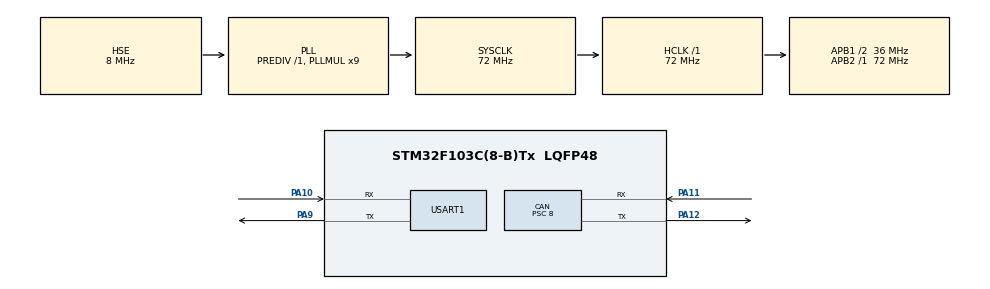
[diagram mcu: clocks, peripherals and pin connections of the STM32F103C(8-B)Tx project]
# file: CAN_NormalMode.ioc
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CAN.BS1=CAN_BS1_15TQ
CAN.BS2=CAN_BS2_2TQ
CAN.CalculateBaudRate=250000
CAN.CalculateTimeBit=4000
CAN.CalculateTimeQuantum=222.22222222222223
CAN.Prescaler=8
Mcu.Family=STM32F1
Mcu.Name=STM32F103C(8-B)Tx
Mcu.Package=LQFP48
NVIC.PriorityGroup=NVIC_PRIORITYGROUP_4
PA10.Mode=Asynchronous
PA10.Signal=USART1_RX
PA11.Mode=CAN_Activate
PA11.Signal=CAN_RX
PA12.Mode=CAN_Activate
PA12.Signal=CAN_TX
PA13.Mode=Serial_Wire
PA13.Signal=SYS_JTMS-SWDIO
PA14.Mode=Serial_Wire
PA14.Signal=SYS_JTCK-SWCLK
PA9.Mode=Asynchronous
PA9.Signal=USART1_TX
PD0-OSC_IN.Mode=HSE-External-Oscillator
PD0-OSC_IN.Signal=RCC_OSC_IN
PD1-OSC_OUT.Mode=HSE-External-Oscillator
PD1-OSC_OUT.Signal=RCC_OSC_OUT
ProjectManager.HeapSize=0x200
ProjectManager.StackSize=0x400
ProjectManager.TargetToolchain=STM32CubeIDE
RCC.AHBFreq_Value=72000000
RCC.APB1CLKDivider=RCC_HCLK_DIV2
RCC.APB1Freq_Value=36000000
RCC.APB1TimFreq_Value=72000000
RCC.APB2Freq_Value=72000000
RCC.APB2TimFreq_Value=72000000
RCC.HCLKFreq_Value=72000000
RCC.PLLMUL=RCC_PLL_MUL9
RCC.PLLSourceVirtual=RCC_PLLSOURCE_HSE
RCC.SYSCLKFreq_VALUE=72000000
RCC.SYSCLKSource=RCC_SYSCLKSOURCE_PLLCLK
RCC.USBFreq_Value=72000000
TIM3.AutoReloadPreload=TIM_AUTORELOAD_PRELOAD_DISABLE
USART1.VirtualMode=VM_ASYNC
VP_TIM3_VS_ClockSourceINT.Mode=Internal
board=custom

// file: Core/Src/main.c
/* USER CODE BEGIN Header */
/**
  ******************************************************************************
  * @file           : main.c
  * @brief          : Main program body
  ******************************************************************************
  * @attention
  *
  * Copyright (c) 2023 STMicroelectronics.
  * All rights reserved.
  *
  * This software is licensed under terms that can be found in the LICENSE file
  * in the root directory of this software component.
  * If no LICENSE file comes with this software, it is provided AS-IS.
  *
  ******************************************************************************
  */
/* USER CODE END Header */
#include "main.h"
#include"stdio.h"

 CAN_HandleTypeDef hcan;

TIM_HandleTypeDef htim3;

UART_HandleTypeDef huart1;

void SystemClock_Config(void);
static void MX_GPIO_Init(void);
static void MX_CAN_Init(void);
static void MX_USART1_UART_Init(void);
static void MX_TIM3_Init(void);

/* USER CODE BEGIN 0 */

void CAN1_Tx();
void CAN1_Rx(void);
void CAN_Filter_Config(void);
void Send_response(uint32_t StdId);
void LED_Manage_Output(uint8_t led_no);
uint8_t req_counter = 0;
CAN_RxHeaderTypeDef RxHeader;

/* USER CODE END 0 */

int main(void)
{

  /* MCU Configuration--------------------------------------------------------*/

  /* Reset of all peripherals, Initializes the Flash interface and the Systick. */
  HAL_Init();

  /* Configure the system clock */
  SystemClock_Config();

  /* Initialize all configured peripherals */
  MX_GPIO_Init();
  MX_CAN_Init();
  MX_USART1_UART_Init();
  MX_TIM3_Init();
  /* USER CODE BEGIN 2 */

  CAN_Filter_Config();

  	if(HAL_CAN_ActivateNotification(&hcan,CAN_IT_TX_MAILBOX_EMPTY|CAN_IT_RX_FIFO0_MSG_PENDING|CAN_IT_BUSOFF)!= HAL_OK)
  	{
  			Error_Handler();
  	}

  	if( HAL_CAN_Start(&hcan) != HAL_OK)
  	{
  		Error_Handler();
  	}

  /* USER CODE END 2 */

  /* Infinite loop */
  while (1)
  {

  }
}

void SystemClock_Config(void)
{
  RCC_OscInitTypeDef RCC_OscInitStruct = {0};
  RCC_ClkInitTypeDef RCC_ClkInitStruct = {0};

  /** Initializes the RCC Oscillators according to the specified parameters
  * in the RCC_OscInitTypeDef structure.
  */
  RCC_OscInitStruct.OscillatorType = RCC_OSCILLATORTYPE_HSE;
  RCC_OscInitStruct.HSEState = RCC_HSE_ON;
  RCC_OscInitStruct.HSEPredivValue = RCC_HSE_PREDIV_DIV1;
  RCC_OscInitStruct.HSIState = RCC_HSI_ON;
  RCC_OscInitStruct.PLL.PLLState = RCC_PLL_ON;
  RCC_OscInitStruct.PLL.PLLSource = RCC_PLLSOURCE_HSE;
  RCC_OscInitStruct.PLL.PLLMUL = RCC_PLL_MUL9;
  if (HAL_RCC_OscConfig(&RCC_OscInitStruct) != HAL_OK)
  {
    Error_Handler();
  }

  /** Initializes the CPU, AHB and APB buses clocks
  */
  RCC_ClkInitStruct.ClockType = RCC_CLOCKTYPE_HCLK|RCC_CLOCKTYPE_SYSCLK
                              |RCC_CLOCKTYPE_PCLK1|RCC_CLOCKTYPE_PCLK2;
  RCC_ClkInitStruct.SYSCLKSource = RCC_SYSCLKSOURCE_PLLCLK;
  RCC_ClkInitStruct.AHBCLKDivider = RCC_SYSCLK_DIV1;
  RCC_ClkInitStruct.APB1CLKDivider = RCC_HCLK_DIV2;
  RCC_ClkInitStruct.APB2CLKDivider = RCC_HCLK_DIV1;

  if (HAL_RCC_ClockConfig(&RCC_ClkInitStruct, FLASH_LATENCY_2) != HAL_OK)
  {
    Error_Handler();
  }
}

uint8_t led_no=0;

void CAN1_Tx(void)
{
	CAN_TxHeaderTypeDef TxHeader;

	uint32_t TxMailbox;

	uint8_t ourMessage[5] = {'H','E','L','L','O'};
	TxHeader.DLC = 5;
	TxHeader.StdId = 0x65D;
	TxHeader.IDE = CAN_ID_STD;
	TxHeader.RTR = CAN_RTR_DATA;

	if(HAL_CAN_AddTxMessage(&hcan,&TxHeader,ourMessage,&TxMailbox) != HAL_OK)
	{
		Error_Handler();
	}

}

void CAN_Filter_Config(void)
{
	CAN_FilterTypeDef can1_filter_init;

	can1_filter_init.FilterActivation = ENABLE;
	can1_filter_init.FilterBank  = 0;
	can1_filter_init.FilterFIFOAssignment = CAN_RX_FIFO0;
	can1_filter_init.FilterIdHigh = 0x0000;
	can1_filter_init.FilterIdLow = 0x0000;
	can1_filter_init.FilterMaskIdHigh = 0X01C0;
	can1_filter_init.FilterMaskIdLow = 0x0000;
	can1_filter_init.FilterMode = CAN_FILTERMODE_IDMASK;
	can1_filter_init.FilterScale = CAN_FILTERSCALE_32BIT;

	if( HAL_CAN_ConfigFilter(&hcan,&can1_filter_init) != HAL_OK)
	{
		Error_Handler();
	}

}

void CAN1_Rx()

{
	CAN_RxHeaderTypeDef RxHeader;

	uint8_t rcvdMsg[5];

	char msg[50];

	if(HAL_CAN_GetRxMessage(&hcan, CAN_RX_FIFO0, &RxHeader, rcvdMsg) != HAL_OK )
	{
		Error_Handler();
	}

    sprintf(msg,"Message Received: %s\r\n",rcvdMsg);

}

static void MX_CAN_Init(void)
{

  hcan.Instance = CAN1;
  hcan.Init.Prescaler = 8;
  hcan.Init.Mode = CAN_MODE_NORMAL;
  hcan.Init.SyncJumpWidth = CAN_SJW_1TQ;
  hcan.Init.TimeSeg1 = CAN_BS1_15TQ;
  hcan.Init.TimeSeg2 = CAN_BS2_2TQ;
  hcan.Init.TimeTriggeredMode = DISABLE;
  hcan.Init.AutoBusOff = ENABLE;
  hcan.Init.AutoWakeUp = DISABLE;
  hcan.Init.AutoRetransmission = ENABLE;
  hcan.Init.ReceiveFifoLocked = DISABLE;
  hcan.Init.TransmitFifoPriority = DISABLE;
  if (HAL_CAN_Init(&hcan) != HAL_OK)
  {
    Error_Handler();
  }

}

static void MX_TIM3_Init(void)
{

  TIM_ClockConfigTypeDef sClockSourceConfig = {0};
  TIM_MasterConfigTypeDef sMasterConfig = {0};

  htim3.Instance = TIM3;
  htim3.Init.Prescaler = 72000;
  htim3.Init.CounterMode = TIM_COUNTERMODE_UP;
  htim3.Init.Period = 10000-1;
  htim3.Init.ClockDivision = TIM_CLOCKDIVISION_DIV1;
  htim3.Init.AutoReloadPreload = TIM_AUTORELOAD_PRELOAD_DISABLE;
  if (HAL_TIM_Base_Init(&htim3) != HAL_OK)
  {
    Error_Handler();
  }
  sClockSourceConfig.ClockSource = TIM_CLOCKSOURCE_INTERNAL;
  if (HAL_TIM_ConfigClockSource(&htim3, &sClockSourceConfig) != HAL_OK)
  {
    Error_Handler();
  }
  sMasterConfig.MasterOutputTrigger = TIM_TRGO_RESET;
  sMasterConfig.MasterSlaveMode = TIM_MASTERSLAVEMODE_DISABLE;
  if (HAL_TIMEx_MasterConfigSynchronization(&htim3, &sMasterConfig) != HAL_OK)
  {
    Error_Handler();
  }

}

static void MX_USART1_UART_Init(void)
{

  huart1.Instance = USART1;
  huart1.Init.BaudRate = 115200;
  huart1.Init.WordLength = UART_WORDLENGTH_8B;
  huart1.Init.StopBits = UART_STOPBITS_1;
  huart1.Init.Parity = UART_PARITY_NONE;
  huart1.Init.Mode = UART_MODE_TX_RX;
  huart1.Init.HwFlowCtl = UART_HWCONTROL_NONE;
  huart1.Init.OverSampling = UART_OVERSAMPLING_16;
  if (HAL_UART_Init(&huart1) != HAL_OK)
  {
    Error_Handler();
  }

}

static void MX_GPIO_Init(void)
{

  /* GPIO Ports Clock Enable */
  __HAL_RCC_GPIOD_CLK_ENABLE();
  __HAL_RCC_GPIOA_CLK_ENABLE();
  __HAL_RCC_GPIOC_CLK_ENABLE();

  HAL_NVIC_EnableIRQ(EXTI15_10_IRQn);

}

/* USER CODE BEGIN 4 */

void init_timer(unsigned long int value){

	htim3.Instance = TIM3;
	htim3.Init.Prescaler = 4999;
	htim3.Init.Period = 10000-1;
	if( HAL_TIM_Base_Init(&htim3) != HAL_OK )
	{
		Error_Handler();
	}

 }

void HAL_CAN_TxMailbox0CompleteCallback(CAN_HandleTypeDef *hcan)
{
	char msg[50];
	sprintf(msg,"Message Transmitted:M0\r\n");
	HAL_UART_Transmit(&huart1,(uint8_t*)msg,strlen(msg),HAL_MAX_DELAY);

}

void HAL_CAN_TxMailbox1CompleteCallback(CAN_HandleTypeDef *hcan)
{
	char msg[50];
	sprintf(msg,"Message Transmitted:M1\r\n");
	HAL_UART_Transmit(&huart1,(uint8_t*)msg,strlen(msg),HAL_MAX_DELAY);

}

void HAL_CAN_TxMailbox2CompleteCallback(CAN_HandleTypeDef *hcan)
{
	char msg[50];
	sprintf(msg,"Message Transmitted:M2\r\n");
	HAL_UART_Transmit(&huart1,(uint8_t*)msg,strlen(msg),HAL_MAX_DELAY);

}

 void HAL_CAN_RxFifo0MsgPendingCallback(CAN_HandleTypeDef *hcan)
{
	uint8_t rcvd_msg[8];

	char msg[50];

	if(HAL_CAN_GetRxMessage(hcan,CAN_RX_FIFO0,&RxHeader,rcvd_msg) != HAL_OK)
	{
		Error_handler();
	}

	if(RxHeader.StdId == 0x65D && RxHeader.RTR == 0 )
	{
		//This is data frame sent by n1 to n2
		LED_Manage_Output(rcvd_msg[0]);
		sprintf(msg,"Message Received : #%x\r\n",rcvd_msg[0]);
	}
	else if ( RxHeader.StdId == 0x651 && RxHeader.RTR == 1)
	{
		//This is a remote frame sent by n1 to n2
		Send_response(RxHeader.StdId);
		return;
	}
	else if ( RxHeader.StdId == 0x651 && RxHeader.RTR == 0)
	{
		//its a reply ( data frame) by n2 to n1
		sprintf(msg,"Reply Received : %#X\r\n",rcvd_msg[0] << 8 | rcvd_msg[1]);
	}

	 HAL_UART_Transmit(&huart1,(uint8_t*)msg,strlen(msg),HAL_MAX_DELAY);

}

 int a;

 void HAL_TIM_PeriodElapsedCallback(TIM_HandleTypeDef *htim)
 {
	 CAN_TxHeaderTypeDef TxHeader;

	 uint32_t TxMailbox;

	 uint8_t message; //no meaning for data frame

	if ( req_counter  == 4)
	{
		//N1 sending Remote frame to N2
		TxHeader.DLC = 2; //N1 demanding 2 bytes of reply
		TxHeader.StdId = 0x651;
		TxHeader.IDE   = CAN_ID_STD;
		TxHeader.RTR = CAN_RTR_REMOTE;

		if( HAL_CAN_AddTxMessage(&hcan,&TxHeader,&message,&TxMailbox) != HAL_OK)
		{
			Error_handler();
		}
		req_counter = 0;

	}else
	{
		CAN1_Tx();
		req_counter++;
	}

 }

 void LED_Manage_Output(uint8_t led_no)
 {

 }

 void Send_response(uint32_t StdId)
 {

 	CAN_TxHeaderTypeDef TxHeader;

 	uint32_t TxMailbox;

 	uint8_t response[2] = { 0xAB,0XCD};

 	TxHeader.DLC = 2;
 	TxHeader.StdId = StdId;
 	TxHeader.IDE   = CAN_ID_STD;
 	TxHeader.RTR = CAN_RTR_DATA;

 	if( HAL_CAN_AddTxMessage(&hcan,&TxHeader,response,&TxMailbox) != HAL_OK)
 	{
 		Error_Handler();
 	}

 }

/* USER CODE END 4 */

void HAL_CAN_ErrorCallback(CAN_HandleTypeDef *hcan)
{

}

void Error_Handler(void)
{
  __disable_irq();
  while (1)
  {
  }
}
